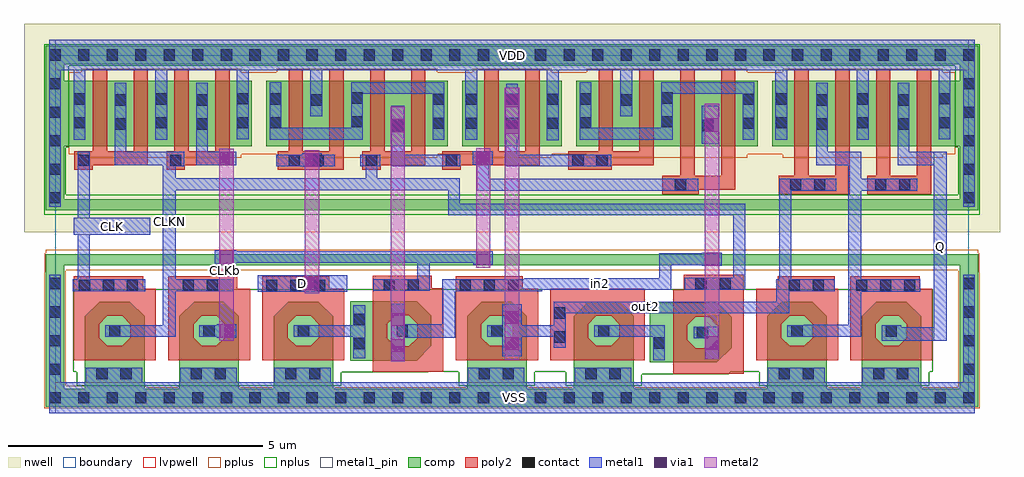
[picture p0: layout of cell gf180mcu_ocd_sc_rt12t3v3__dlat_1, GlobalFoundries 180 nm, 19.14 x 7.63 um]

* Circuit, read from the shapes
.subckt gf180mcu_ocd_sc_rt12t3v3__dlat_1 CLK CLKN CLKb D Q VDD VSS in2 out2
XM1 CLKN CLK VSS VSS nfet_03v3 w=1.785u l=0.5341u
XM2 CLKb CLKN VSS VSS nfet_03v3 w=1.785u l=0.5344u
XM3 n1 D VSS VSS nfet_03v3 w=1.785u l=0.5338u
XM4 in2 CLKb n1 VSS nfet_03v3 w=1.785u l=0.5349u
XM5 out2 in2 VSS VSS nfet_03v3 w=1.785u l=0.5349u
XM6 n2 out2 VSS VSS nfet_03v3 w=1.785u l=0.5349u
XM7 in2 CLKN n2 VSS nfet_03v3 w=1.785u l=0.5338u
XM8 n3 out2 VSS VSS nfet_03v3 w=1.785u l=0.5339u
XM9 Q n3 VSS VSS nfet_03v3 w=1.785u l=0.5333u
XM10 CLKN CLK VDD VDD pfet_03v3 w=1.285u l=0.28u m=2
XM11 CLKb CLKN VDD VDD pfet_03v3 w=1.285u l=0.28u m=2
XM12 VDD D n4 VDD pfet_03v3 w=1.285u l=0.28u m=2
XM13 in2 CLKN n4 VDD pfet_03v3 w=1.285u l=0.28u m=2
XM14 out2 in2 VDD VDD pfet_03v3 w=1.285u l=0.28u m=2
XM15 VDD out2 n5 VDD pfet_03v3 w=1.285u l=0.28u m=2
XM16 in2 CLKb n5 VDD pfet_03v3 w=1.285u l=0.28u m=2
XM17 n3 out2 VDD VDD pfet_03v3 w=1.285u l=0.28u m=2
XM18 Q n3 VDD VDD pfet_03v3 w=1.285u l=0.28u m=2
.ends

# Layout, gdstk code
import gdstk
lib = gdstk.Library(unit=1e-6, precision=1e-09)
def R(c, l, rs):  # rectangles x0, y0, x1, y1
    for r in rs: c.add(gdstk.rectangle(r[:2], r[2:], *l))
def A(c, l, x, y, w, h, nx, ny, dx, dy):  # array of equal rectangles
    R(c, l, [(x+i*dx, y+j*dy, x+i*dx+w, y+j*dy+h) for i in range(nx) for j in range(ny)])
def P(c, l, *ps):  # polygons
    for p in ps: c.add(gdstk.Polygon(p, *l))
boundary = (0, 0)
nwell = (21, 0)
comp = (22, 0)
poly2 = (30, 0)
pplus = (31, 0)
nplus = (32, 0)
contact = (33, 0)
metal1 = (34, 0)
metal1_pin = (34, 10)
via1 = (35, 0)
metal2 = (36, 0)
lvpwell = (204, 0)

gf180mcu_ocd_sc_rt12t3v3 = lib.new_cell('gf180mcu_ocd_sc_rt12t3v3__dlat_1')
R(gf180mcu_ocd_sc_rt12t3v3, boundary, [(0,0,17.92,6.72)])
R(gf180mcu_ocd_sc_rt12t3v3, nwell, [(-0.61,3.245,18.53,7.33)])
A(gf180mcu_ocd_sc_rt12t3v3, comp, 0.585, 0.18, 1.17, 1.415, 3, 1, 1.85, 0)
A(gf180mcu_ocd_sc_rt12t3v3, comp, 0.875, 1.595, 0.59, 0.29, 3, 1, 1.85, 0)
R(gf180mcu_ocd_sc_rt12t3v3, comp, [(-0.18,-0.18,18.1,0.18), (-0.18,0.18,0.18,2.595), (8.08,0.18,9.25,1.595), (10.175,0.18,11.345,1.595), (13.965,0.18,15.135,1.595), (15.815,0.18,16.985,1.595), (17.74,0.18,18.1,2.595), (11.665,0.695,12.98,0.985), (5.785,0.725,7.09,1.015), (11.665,0.985,13.27,1.575), (5.785,1.015,7.38,1.605), (11.665,1.575,12.98,1.865), (8.37,1.595,9.015,1.83), (10.41,1.595,11.055,1.83), (14.235,1.595,14.845,1.865), (16.105,1.595,16.695,1.885), (5.785,1.605,7.09,1.895), (8.37,1.83,8.96,1.885), (10.465,1.83,11.055,1.885), (14.255,1.865,14.845,1.885), (-0.18,2.595,18.1,2.815), (-0.18,3.675,18.1,3.895), (-0.18,3.895,0.18,4.935), (17.74,3.895,18.1,4.935), (-0.18,4.935,3.86,6.22), (4.14,4.935,7.7,6.22), (7.98,4.935,9.94,6.22), (10.22,4.935,13.78,6.22), (14.06,4.935,18.1,6.22), (-0.18,6.22,0.18,6.54), (17.74,6.22,18.1,6.54), (-0.18,6.54,18.1,6.9)])
P(gf180mcu_ocd_sc_rt12t3v3, comp, [(0.585,1.595),(0.875,1.595),(0.875,1.885)],
  [(1.465,1.885),(1.465,1.595),(1.755,1.595)],
  [(2.435,1.595),(2.725,1.595),(2.725,1.885)],
  [(3.315,1.885),(3.315,1.595),(3.605,1.595)],
  [(4.285,1.595),(4.575,1.595),(4.575,1.885)],
  [(5.165,1.885),(5.165,1.595),(5.455,1.595)],
  [(7.09,1.895),(7.09,1.605),(7.38,1.605)],
  [(7.09,0.725),(7.09,1.015),(7.38,1.015)],
  [(8.08,1.595),(8.37,1.595),(8.37,1.885)],
  [(8.96,1.885),(8.96,1.83),(9.015,1.83)],
  [(10.41,1.83),(10.465,1.83),(10.465,1.885)],
  [(9.015,1.83),(9.015,1.595),(9.25,1.595)],
  [(10.175,1.595),(10.41,1.595),(10.41,1.83)],
  [(11.055,1.885),(11.055,1.595),(11.345,1.595)],
  [(14.235,1.865),(14.255,1.865),(14.255,1.885)],
  [(12.98,1.865),(12.98,1.575),(13.27,1.575)],
  [(12.98,0.695),(12.98,0.985),(13.27,0.985)],
  [(13.965,1.595),(14.235,1.595),(14.235,1.865)],
  [(14.845,1.885),(14.845,1.595),(15.135,1.595)],
  [(15.815,1.595),(16.105,1.595),(16.105,1.885)],
  [(16.695,1.885),(16.695,1.595),(16.985,1.595)])
A(gf180mcu_ocd_sc_rt12t3v3, poly2, 0.365, 0.735, 1.61, 0.28, 3, 1, 1.85, 0)
A(gf180mcu_ocd_sc_rt12t3v3, poly2, 0.365, 1.605, 1.61, 0.535, 3, 1, 1.85, 0)
A(gf180mcu_ocd_sc_rt12t3v3, poly2, 14.5, 4.355, 0.28, 2.085, 4, 1, 0.8, 0)
A(gf180mcu_ocd_sc_rt12t3v3, poly2, 0.74, 4.835, 0.28, 1.605, 4, 1, 0.8, 0)
A(gf180mcu_ocd_sc_rt12t3v3, poly2, 4.58, 4.835, 0.28, 1.605, 4, 1, 0.8, 0)
R(gf180mcu_ocd_sc_rt12t3v3, poly2, [(12.12,0.475,13.505,0.975), (6.23,0.505,7.615,1.005), (7.86,0.735,9.47,1.015), (9.71,0.735,11.565,1.015), (13.745,0.735,15.355,1.015), (15.595,0.735,17.205,1.015), (12.12,0.975,12.4,1.585), (12.98,0.975,13.505,1.125), (6.23,1.005,6.51,1.615), (7.09,1.005,7.615,1.155), (0.365,1.015,0.865,1.595), (1.475,1.015,1.975,1.595), (2.215,1.015,2.715,1.595), (3.325,1.015,3.825,1.595), (4.065,1.015,4.565,1.595), (5.175,1.015,5.675,1.595), (7.86,1.015,8.36,1.595), (8.97,1.015,9.47,1.595), (9.71,1.015,10.455,1.595), (11.065,1.015,11.565,1.595), (13.745,1.015,14.245,1.595), (14.855,1.015,15.355,1.595), (15.595,1.015,16.095,1.595), (16.705,1.015,17.205,1.595), (12.99,1.125,13.505,1.435), (7.1,1.155,7.615,1.465), (12.98,1.435,13.505,1.585), (7.09,1.465,7.615,1.615), (12.12,1.585,13.505,2.115), (0.365,1.595,1.015,1.605), (1.325,1.595,1.975,1.605), (2.215,1.595,2.865,1.605), (3.175,1.595,3.825,1.605), (4.065,1.595,4.715,1.605), (5.025,1.595,5.675,1.605), (7.86,1.595,8.51,1.605), (8.82,1.595,9.47,1.605), (9.71,1.595,10.605,1.605), (10.915,1.595,11.565,1.605), (13.745,1.595,14.395,1.605), (14.705,1.595,15.355,1.605), (15.595,1.595,16.245,1.605), (16.555,1.595,17.205,1.605), (7.86,1.605,9.47,2.14), (9.71,1.605,11.565,2.14), (13.745,1.605,15.355,2.14), (15.595,1.605,17.205,2.14), (6.23,1.615,7.615,2.15), (12.33,2.115,13.505,2.415), (0.365,2.14,1.725,2.385), (2.215,2.14,3.575,2.385), (4.065,2.14,5.375,2.385), (7.86,2.14,9.17,2.385), (14.175,2.14,15.285,2.385), (15.595,2.14,16.955,2.385), (6.23,2.15,7.385,2.39), (11.91,3.995,12.62,4.075), (14.19,3.995,15.58,4.355), (15.93,3.995,17.18,4.355), (11.91,4.075,13.34,4.355), (12.26,4.355,12.54,6.44), (13.06,4.355,13.34,6.44), (0.38,4.475,0.74,4.555), (2.185,4.475,2.545,4.555), (4.365,4.475,5.66,4.835), (6.025,4.475,6.385,4.555), (7.595,4.475,7.955,4.555), (10.065,4.475,10.915,4.555), (0.38,4.555,1.82,4.835), (2.185,4.555,3.42,4.835), (6.025,4.555,7.26,4.835), (7.595,4.555,9.5,4.835), (10.065,4.555,11.74,4.835), (8.42,4.835,8.7,6.44), (9.22,4.835,9.5,6.44), (10.66,4.835,10.94,6.44), (11.46,4.835,11.74,6.44)])
P(gf180mcu_ocd_sc_rt12t3v3, poly2, [(1.015,1.595),(1.015,1.605),(1.025,1.605)],
  [(1.315,1.605),(1.325,1.605),(1.325,1.595)],
  [(0.865,1.445),(0.865,1.595),(1.015,1.595)],
  [(1.325,1.595),(1.475,1.595),(1.475,1.445)],
  [(0.865,1.175),(0.865,1.015),(1.025,1.015)],
  [(1.315,1.015),(1.475,1.015),(1.475,1.175)],
  [(2.865,1.595),(2.865,1.605),(2.875,1.605)],
  [(3.165,1.605),(3.175,1.605),(3.175,1.595)],
  [(2.715,1.445),(2.715,1.595),(2.865,1.595)],
  [(3.175,1.595),(3.325,1.595),(3.325,1.445)],
  [(2.715,1.175),(2.715,1.015),(2.875,1.015)],
  [(3.165,1.015),(3.325,1.015),(3.325,1.175)],
  [(4.715,1.595),(4.715,1.605),(4.725,1.605)],
  [(5.015,1.605),(5.025,1.605),(5.025,1.595)],
  [(4.565,1.445),(4.565,1.595),(4.715,1.595)],
  [(5.025,1.595),(5.175,1.595),(5.175,1.445)],
  [(4.565,1.175),(4.565,1.015),(4.725,1.015)],
  [(5.015,1.015),(5.175,1.015),(5.175,1.175)],
  [(6.51,1.455),(6.51,1.615),(6.67,1.615)],
  [(6.94,1.615),(7.09,1.615),(7.09,1.465)],
  [(7.09,1.465),(7.1,1.465),(7.1,1.455)],
  [(6.51,1.165),(6.51,1.005),(6.67,1.005)],
  [(7.09,1.155),(7.1,1.155),(7.1,1.165)],
  [(6.94,1.005),(7.09,1.005),(7.09,1.155)],
  [(8.51,1.595),(8.51,1.605),(8.52,1.605)],
  [(8.81,1.605),(8.82,1.605),(8.82,1.595)],
  [(8.36,1.445),(8.36,1.595),(8.51,1.595)],
  [(8.82,1.595),(8.97,1.595),(8.97,1.445)],
  [(8.36,1.175),(8.36,1.015),(8.52,1.015)],
  [(8.81,1.015),(8.97,1.015),(8.97,1.175)],
  [(10.605,1.595),(10.605,1.605),(10.615,1.605)],
  [(10.905,1.605),(10.915,1.605),(10.915,1.595)],
  [(10.455,1.445),(10.455,1.595),(10.605,1.595)],
  [(10.915,1.595),(11.065,1.595),(11.065,1.445)],
  [(10.455,1.175),(10.455,1.015),(10.615,1.015)],
  [(10.905,1.015),(11.065,1.015),(11.065,1.175)],
  [(12.4,1.425),(12.4,1.585),(12.56,1.585)],
  [(12.83,1.585),(12.98,1.585),(12.98,1.435)],
  [(12.98,1.435),(12.99,1.435),(12.99,1.425)],
  [(12.4,1.135),(12.4,0.975),(12.56,0.975)],
  [(12.98,1.125),(12.99,1.125),(12.99,1.135)],
  [(12.83,0.975),(12.98,0.975),(12.98,1.125)],
  [(14.395,1.595),(14.395,1.605),(14.405,1.605)],
  [(14.695,1.605),(14.705,1.605),(14.705,1.595)],
  [(14.245,1.445),(14.245,1.595),(14.395,1.595)],
  [(14.705,1.595),(14.855,1.595),(14.855,1.445)],
  [(14.245,1.175),(14.245,1.015),(14.405,1.015)],
  [(14.695,1.015),(14.855,1.015),(14.855,1.175)],
  [(16.245,1.595),(16.245,1.605),(16.255,1.605)],
  [(16.545,1.605),(16.555,1.605),(16.555,1.595)],
  [(16.095,1.445),(16.095,1.595),(16.245,1.595)],
  [(16.555,1.595),(16.705,1.595),(16.705,1.445)],
  [(16.095,1.175),(16.095,1.015),(16.255,1.015)],
  [(16.545,1.015),(16.705,1.015),(16.705,1.175)])
R(gf180mcu_ocd_sc_rt12t3v3, pplus, [(-0.21,-0.21,18.13,0.21), (-0.21,0.21,1.775,0.235), (2.415,0.21,3.625,0.235), (4.265,0.21,5.475,0.235), (8.06,0.21,9.27,0.235), (10.155,0.21,11.365,0.235), (13.945,0.21,15.155,0.235), (15.795,0.21,17.005,0.235), (17.71,0.21,18.13,2.45), (-0.21,0.235,0.21,2.45), (-0.2,2.45,0.21,2.505), (17.71,2.45,18.12,2.505), (-0.2,2.505,18.12,2.835), (-0.18,2.835,18.1,2.905), (0.51,4.705,3.65,4.775), (4.35,4.705,7.49,4.775), (8.19,4.705,9.73,4.775), (10.43,4.705,13.57,4.775), (14.27,4.705,17.41,4.775), (0.27,4.775,17.65,6.38), (0.51,6.38,3.65,6.45), (4.35,6.38,7.49,6.45), (8.19,6.38,9.73,6.45), (10.43,6.38,13.57,6.45), (14.27,6.38,17.41,6.45)])
R(gf180mcu_ocd_sc_rt12t3v3, nplus, [(0.425,0.235,5.615,0.495), (7.92,0.235,9.41,0.505), (10.015,0.235,11.505,0.465), (13.805,0.235,17.145,0.505), (10.015,0.465,13.21,0.505), (0.425,0.495,7.32,0.505), (0.355,0.505,17.215,2.125), (-0.21,3.585,18.13,3.985), (-0.21,3.985,0.21,4.915), (17.71,3.985,18.13,4.915), (-0.21,4.915,0.27,6.51), (17.65,4.915,18.13,6.51), (-0.21,6.51,18.13,6.93)])
P(gf180mcu_ocd_sc_rt12t3v3, nplus, [(7.32,0.495),(7.32,0.505),(7.33,0.505)],
  [(13.21,0.465),(13.21,0.505),(13.25,0.505)])
A(gf180mcu_ocd_sc_rt12t3v3, contact, -0.11, -0.11, 0.22, 0.22, 33, 2, 0.56, 6.72)
A(gf180mcu_ocd_sc_rt12t3v3, contact, -0.11, 0.45, 0.22, 0.22, 1, 4, 0, 0.56)
A(gf180mcu_ocd_sc_rt12t3v3, contact, 17.81, 0.45, 0.22, 0.22, 1, 4, 0, 0.56)
A(gf180mcu_ocd_sc_rt12t3v3, contact, 1.06, 1.2, 0.22, 0.22, 3, 1, 1.85, 0)
A(gf180mcu_ocd_sc_rt12t3v3, contact, 0.465, 2.095, 0.22, 0.22, 3, 1, 0.47, 0)
A(gf180mcu_ocd_sc_rt12t3v3, contact, 4.14, 2.095, 0.22, 0.22, 3, 1, 0.47, 0)
A(gf180mcu_ocd_sc_rt12t3v3, contact, 7.935, 2.095, 0.22, 0.22, 3, 1, 0.47, 0)
A(gf180mcu_ocd_sc_rt12t3v3, contact, 15.71, 2.095, 0.22, 0.22, 3, 1, 0.47, 0)
A(gf180mcu_ocd_sc_rt12t3v3, contact, -0.11, 3.81, 0.22, 0.22, 1, 5, 0, 0.56)
A(gf180mcu_ocd_sc_rt12t3v3, contact, 17.81, 3.81, 0.22, 0.22, 1, 5, 0, 0.56)
A(gf180mcu_ocd_sc_rt12t3v3, contact, 8.05, 5.275, 0.22, 0.22, 3, 2, 0.8, 0.47)
R(gf180mcu_ocd_sc_rt12t3v3, contact, [(0.81,0.36,1.03,0.58), (1.28,0.36,1.5,0.58), (2.66,0.36,2.88,0.58), (3.13,0.36,3.35,0.58), (4.51,0.36,4.73,0.58), (4.98,0.36,5.2,0.58), (8.305,0.36,8.525,0.58), (8.775,0.36,8.995,0.58), (10.4,0.36,10.62,0.58), (10.87,0.36,11.09,0.58), (14.19,0.36,14.41,0.58), (14.66,0.36,14.88,0.58), (16.04,0.36,16.26,0.58), (16.51,0.36,16.73,0.58), (5.855,0.955,6.075,1.175), (11.735,0.965,11.955,1.185), (9.785,1.08,10.005,1.3), (12.585,1.17,12.805,1.39), (6.695,1.2,6.915,1.42), (8.555,1.2,8.775,1.42), (10.65,1.2,10.87,1.42), (14.44,1.2,14.66,1.42), (16.29,1.2,16.51,1.42), (5.855,1.425,6.075,1.645), (9.785,1.55,10.005,1.77), (2.5,2.095,2.72,2.315), (2.97,2.095,3.19,2.315), (14.385,2.095,14.605,2.315), (14.855,2.095,15.075,2.315), (6.445,2.1,6.665,2.32), (6.915,2.1,7.135,2.32), (12.555,2.125,12.775,2.345), (13.025,2.125,13.245,2.345), (12.155,4.065,12.375,4.285), (14.415,4.065,14.635,4.285), (14.885,4.065,15.105,4.285), (16.08,4.065,16.3,4.285), (16.55,4.065,16.77,4.285), (0.45,4.545,0.67,4.765), (2.255,4.545,2.475,4.765), (4.58,4.545,4.8,4.765), (5.05,4.545,5.27,4.765), (6.095,4.545,6.315,4.765), (7.665,4.545,7.885,4.765), (10.145,4.545,10.365,4.765), (10.615,4.545,10.835,4.765), (6.61,5.225,6.83,5.445), (12.69,5.23,12.91,5.45), (1.17,5.26,1.39,5.48), (2.77,5.26,2.99,5.48), (14.93,5.26,15.15,5.48), (16.53,5.26,16.75,5.48), (7.41,5.275,7.63,5.495), (13.49,5.275,13.71,5.495), (0.37,5.28,0.59,5.5), (1.97,5.28,2.19,5.5), (4.21,5.28,4.43,5.5), (10.29,5.28,10.51,5.5), (14.13,5.28,14.35,5.5), (15.73,5.28,15.95,5.5), (3.57,5.285,3.79,5.505), (17.33,5.285,17.55,5.505), (5.81,5.3,6.03,5.52), (11.89,5.3,12.11,5.52), (1.17,5.73,1.39,5.95), (2.77,5.73,2.99,5.95), (5.01,5.73,5.23,5.95), (11.09,5.73,11.31,5.95), (14.93,5.73,15.15,5.95), (16.53,5.73,16.75,5.95), (7.41,5.745,7.63,5.965), (13.49,5.745,13.71,5.965), (0.37,5.75,0.59,5.97), (1.97,5.75,2.19,5.97), (4.21,5.75,4.43,5.97), (10.29,5.75,10.51,5.97), (14.13,5.75,14.35,5.97), (15.73,5.75,15.95,5.97), (3.57,5.755,3.79,5.975), (17.33,5.755,17.55,5.975), (5.81,5.77,6.03,5.99), (11.89,5.77,12.11,5.99)])
A(gf180mcu_ocd_sc_rt12t3v3, metal1, 0.6, 0.3, 1.11, 0.285, 3, 1, 1.85, 0)
A(gf180mcu_ocd_sc_rt12t3v3, metal1, 1.965, 5.06, 0.23, 1.36, 3, 1, 6.08, 0)
R(gf180mcu_ocd_sc_rt12t3v3, metal1, [(-0.115,-0.3,18.035,0.3), (-0.115,0.3,0.115,2.41), (8.095,0.3,9.205,0.585), (10.19,0.3,11.3,0.585), (13.98,0.3,15.09,0.585), (15.83,0.3,16.94,0.585), (17.805,0.3,18.035,2.41), (6.59,0.72,6.85,1.18), (11.73,0.74,11.96,1.195), (12.75,0.755,13.01,1.165), (5.85,0.77,6.08,1.195), (8.765,0.815,9.15,1.195), (9.78,0.98,10.01,1.195), (16.21,1.12,17.49,1.38), (12.525,1.165,13.01,1.395), (3.17,1.18,3.55,1.195), (6.59,1.18,7.85,1.44), (0.98,1.195,2.37,1.425), (2.83,1.195,3.55,1.425), (4.68,1.195,6.08,1.425), (8.475,1.195,10.01,1.425), (10.57,1.195,11.96,1.425), (14.36,1.195,15.81,1.425), (16.21,1.38,16.59,1.425), (17.23,1.38,17.49,4.56), (2.11,1.425,2.37,2.09), (3.17,1.425,3.55,1.44), (5.85,1.425,6.08,1.815), (8.765,1.425,9.15,1.83), (9.78,1.425,10.01,1.655), (14.68,1.425,15.81,1.43), (15.55,1.43,15.81,2.075), (6.59,1.44,6.85,1.84), (7.59,1.44,7.85,2.09), (9.78,1.655,14.395,1.885), (14.145,1.885,14.395,2.09), (3.97,2.075,5.73,2.405), (15.55,2.075,16.97,2.32), (0.345,2.09,1.77,2.32), (2.11,2.09,3.495,2.32), (7.59,2.09,9.55,2.115), (14.145,2.09,15.29,2.32), (6.24,2.095,7.35,2.325), (7.59,2.115,12.08,2.32), (12.345,2.12,13.53,2.35), (0.445,2.32,0.675,3.195), (2.11,2.32,2.37,4.07), (9.205,2.32,12.08,2.345), (14.205,2.32,14.435,4.06), (15.55,2.32,15.81,4.06), (7.105,2.325,7.35,2.645), (11.85,2.345,12.08,2.6), (13.3,2.35,13.53,3.575), (12.69,2.585,13.07,2.6), (11.85,2.6,13.07,2.83), (8.2,2.61,8.585,2.645), (3.135,2.63,3.55,2.645), (3.135,2.645,8.585,2.875), (12.69,2.83,13.07,2.845), (3.135,2.875,3.55,2.89), (0.37,3.195,1.87,3.525), (0.445,3.525,0.675,4.825), (7.705,3.575,13.53,3.805), (-0.115,3.745,0.115,6.42), (17.805,3.75,18.035,6.42), (7.705,3.805,7.935,4.07), (8.27,4.06,12.61,4.29), (14.2,4.06,15.32,4.29), (15.55,4.06,16.91,4.29), (2.11,4.07,7.935,4.3), (8.27,4.29,8.5,4.565), (15.55,4.29,15.81,4.56), (2.11,4.3,2.37,4.54), (6.09,4.3,6.32,4.54), (4.85,4.53,5.23,4.54), (2.11,4.54,2.535,4.56), (4.34,4.54,5.48,4.77), (5.985,4.54,6.375,4.77), (6.605,4.54,7.945,4.77), (8.835,4.54,10.905,4.77), (1.165,4.56,2.535,4.82), (2.765,4.56,3.55,4.82), (14.925,4.56,15.81,4.82), (16.525,4.56,17.49,4.82), (8.195,4.565,8.585,4.83), (4.85,4.77,5.23,4.79), (6.605,4.77,6.85,4.975), (8.835,4.77,9.065,5.065), (1.165,4.82,1.395,6.18), (2.765,4.82,2.995,6.18), (14.925,4.82,15.155,6.18), (16.525,4.82,16.755,6.18), (6.59,4.975,6.85,5.73), (12.685,4.98,13.01,5.725), (9.645,5.045,9.875,6.42), (7.405,5.055,7.635,5.96), (13.485,5.055,13.715,5.96), (0.365,5.06,0.595,6.42), (4.205,5.06,6.035,5.29), (10.285,5.06,12.115,5.29), (15.725,5.06,15.955,6.42), (3.565,5.065,3.795,6.42), (8.83,5.065,9.09,6.07), (17.325,5.065,17.555,6.42), (4.205,5.29,4.435,6.19), (5.805,5.29,6.035,5.96), (10.285,5.29,10.515,6.19), (11.885,5.29,12.115,5.96), (5.005,5.52,5.235,6.42), (11.085,5.52,11.315,6.42), (5.805,5.96,7.635,6.19), (11.885,5.96,13.715,6.19), (8.845,6.07,9.075,6.16), (-0.115,6.42,18.035,7.02)])
R(gf180mcu_ocd_sc_rt12t3v3, metal1_pin, [(0,-0.3,18.035,0.3), (17.23,1.12,17.49,4.82), (3.97,2.075,5.73,2.405), (0.37,3.195,1.87,3.525), (0,6.42,17.92,7.02)])
R(gf180mcu_ocd_sc_rt12t3v3, via1, [(6.59,0.89,6.85,1.15), (8.83,0.93,9.09,1.19), (12.75,0.945,13.01,1.205), (3.23,1.18,3.49,1.44), (6.59,1.41,6.85,1.67), (8.83,1.45,9.09,1.71), (4.91,2.105,5.17,2.365), (12.75,2.585,13.01,2.845), (8.265,2.61,8.525,2.87), (3.23,2.63,3.49,2.89), (4.91,4.53,5.17,4.79), (3.23,4.56,3.49,4.82), (8.265,4.565,8.525,4.825), (8.83,5.175,9.09,5.435), (6.59,5.21,6.85,5.47), (12.75,5.22,13.01,5.48), (8.83,5.695,9.09,5.955)])
R(gf180mcu_ocd_sc_rt12t3v3, metal2, [(6.58,0.72,6.86,5.705), (8.82,0.745,9.1,6.075), (12.74,0.755,13.02,5.77), (3.22,1.12,3.5,4.88), (4.9,2.045,5.18,4.855), (8.255,2.545,8.535,4.89)])
R(gf180mcu_ocd_sc_rt12t3v3, lvpwell, [(-0.18,-0.18,18.1,2.815)])
gf180mcu_ocd_sc_rt12t3v3.add(gdstk.Label('CLKN', (2.24,3.465), layer=34, texttype=0))
gf180mcu_ocd_sc_rt12t3v3.add(gdstk.Label('CLKb', (3.35,2.505), layer=36, texttype=0))
gf180mcu_ocd_sc_rt12t3v3.add(gdstk.Label('out2', (11.575,1.785), layer=34, texttype=0))
gf180mcu_ocd_sc_rt12t3v3.add(gdstk.Label('in2', (10.695,2.25), layer=34, texttype=0))
gf180mcu_ocd_sc_rt12t3v3.add(gdstk.Label('D', (4.85,2.24), layer=34, texttype=10))
gf180mcu_ocd_sc_rt12t3v3.add(gdstk.Label('CLK', (1.12,3.36), layer=34, texttype=10))
gf180mcu_ocd_sc_rt12t3v3.add(gdstk.Label('Q', (17.36,2.97), layer=34, texttype=10))
gf180mcu_ocd_sc_rt12t3v3.add(gdstk.Label('VDD', (8.96,6.72), layer=34, texttype=10))
gf180mcu_ocd_sc_rt12t3v3.add(gdstk.Label('VSS', (9.017,0), layer=34, texttype=10))

lib.write_gds('gf180mcu_ocd_sc_rt12t3v3__dlat_1.gds')
